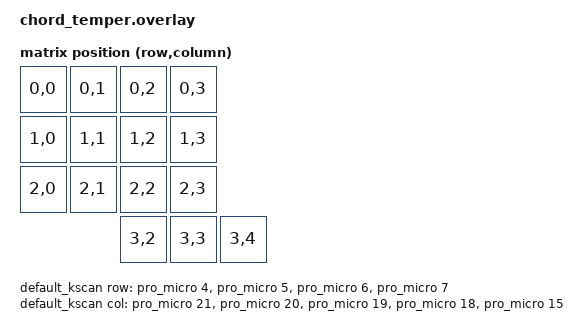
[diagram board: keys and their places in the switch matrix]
/*
 * Copyright (c) 2025 Volker Kempert
 *
 * SPDX-License-Identifier: MIT
 */

#include <dt-bindings/zmk/matrix_transform.h>

/ {
	chosen {
		zmk,kscan = &default_kscan;
		zmk,matrix-transform = &default_transform;
		zephyr,display = &oled;
	};

	default_transform: keymap_transform_0 {
        compatible = "zmk,matrix-transform";
        columns = <5>;
        rows = <4>;

// | SW1  | SW2  | SW3  | SW4  | SW5  |
// | SW6  | SW7  | SW8  | SW9  | SW10 |
// | SW11 | SW12 | SW13 | SW14 | SW15 |
//               | SW16 | SW17 | SW18 |
        map = <
			RC(0,0) RC(0,1) RC(0,2) RC(0,3)
			RC(1,0) RC(1,1) RC(1,2) RC(1,3)
			RC(2,0) RC(2,1) RC(2,2) RC(2,3)
            

                            RC(3,2) RC(3,3) RC(3,4)
        >;
    };

	default_kscan: kscan {
		compatible = "zmk,kscan-gpio-matrix";
        wakeup-source;
        diode-direction = "col2row";

        col-gpios
            = <&pro_micro 21 GPIO_ACTIVE_HIGH> // col 0
            , <&pro_micro 20 GPIO_ACTIVE_HIGH> // col 1
            , <&pro_micro 19 GPIO_ACTIVE_HIGH> // col 2
            , <&pro_micro 18 GPIO_ACTIVE_HIGH> // col 3
            , <&pro_micro 15 GPIO_ACTIVE_HIGH> // col 4
            ;

        row-gpios
            = <&pro_micro 4 (GPIO_ACTIVE_HIGH | GPIO_PULL_DOWN)> // row 0
            , <&pro_micro 5 (GPIO_ACTIVE_HIGH | GPIO_PULL_DOWN)> // row 1
            , <&pro_micro 6 (GPIO_ACTIVE_HIGH | GPIO_PULL_DOWN)> // row 2
            , <&pro_micro 7 (GPIO_ACTIVE_HIGH | GPIO_PULL_DOWN)> // row 3
            ;
	};
};

&pro_micro_i2c {
    status = "okay";

    oled: ssd1306@3c {
        compatible = "solomon,ssd1306fb";
        reg = <0x3c>;
        width = <128>;
        height = <32>;
        segment-offset = <0>;
        page-offset = <0>;
        display-offset = <0>;
        multiplex-ratio = <31>;
        segment-remap;
        com-invdir;
        com-sequential;
        inversion-on;
        prechargep = <0x22>;
    };
};

